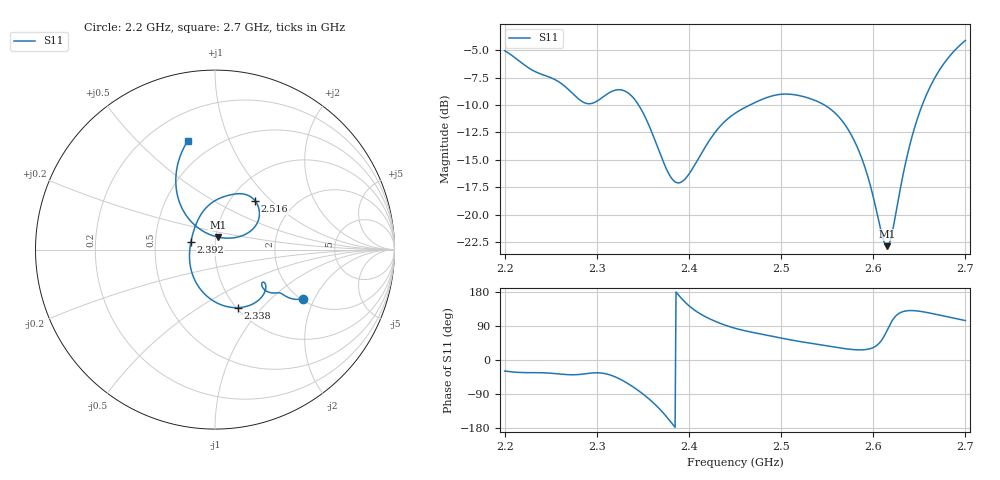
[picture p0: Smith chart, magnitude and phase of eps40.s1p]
! PRELIMINARY bare PCB unless shell_eps > 0; see README.md
! L220 output ($1N324), with L220 and C216 excluded and C217 DNP
# Hz S RI R 50
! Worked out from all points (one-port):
!   501 points, 2.2 GHz to 2.7 GHz, reference 50 ohm
!   lowest |S11| = -22.9 dB at 2.615 GHz (marker M1), VSWR 1.15, Z = 51 + j7.19 ohm
!   |S11| at or under -10 dB: 2.345 GHz to 2.466 GHz (120.4 MHz wide, 5.01 % of centre); 2.547 GHz to 2.653 GHz (105.9 MHz wide, 4.07 % of centre)
!   S11 on the Smith chart (normalised r, x): 2.2 GHz: 2.04, -1.63; 2.338 GHz: 1.01, -0.75; 2.392 GHz: 0.76, +0.07; 2.516 GHz: 1.29, +0.80; 2.7 GHz: 0.36, +0.71
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2.2e9  0.4893 -0.2735
2.224e9  0.3958 -0.2608
2.263e9  0.3106 -0.2402
2.285e9  0.2603 -0.1974
2.299e9  0.2723 -0.1819
2.314e9  0.2801 -0.2278
2.325e9  0.238 -0.2856
2.338e9  0.1265 -0.3237
2.349e9  0.0122 -0.298
2.363e9  -0.0983 -0.196
2.378e9  -0.1412 -0.0614
2.388e9  -0.1387 0.0158
2.392e9  -0.1343 0.0428
2.425e9  -0.062 0.2183
2.45e9  0.0316 0.2882
2.485e9  0.1437 0.3113
2.513e9  0.2182 0.278
2.516e9  0.2234 0.2718
2.551e9  0.2468 0.1857
2.575e9  0.2078 0.1117
2.591e9  0.146 0.0754
2.61e9  0.045 0.0652
2.615e9  0.0149 0.0702
2.62e9  -0.0162 0.0791
2.638e9  -0.1257 0.1486
2.65e9  -0.1821 0.2269
2.664e9  -0.2156 0.3375
2.7e9  -0.1521 0.6054
